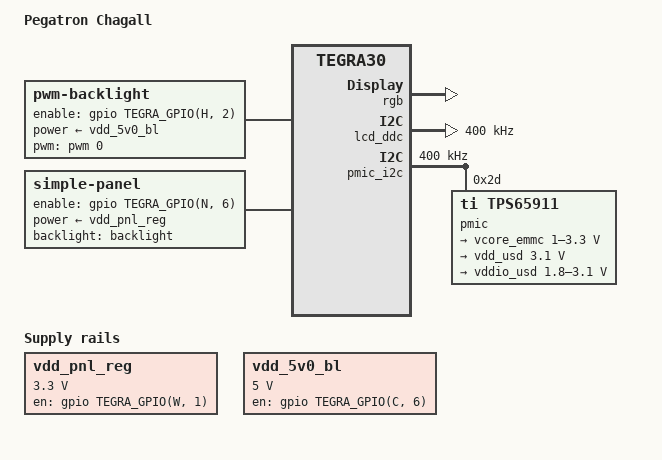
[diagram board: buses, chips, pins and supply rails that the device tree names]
// SPDX-License-Identifier: GPL-2.0-or-later
/dts-v1/;

#include <dt-bindings/input/gpio-keys.h>
#include <dt-bindings/input/linux-event-codes.h>

#include "tegra30-asus-transformer.dtsi"

/ {
	model = "Pegatron Chagall";
	compatible = "pegatron,chagall", "nvidia,tegra30";

	host1x@50000000 {
		dc@54200000 {
			rgb {
				status = "okay";

				nvidia,panel = <&panel>;
			};
		};
	};

	lcd_ddc: i2c@7000c000 {
		status = "okay";
		clock-frequency = <400000>;
	};

	pmic_i2c: i2c@7000d000 {
		status = "okay";
		clock-frequency = <400000>;

		/* Texas Instruments TPS659110 PMIC */
		pmic: tps65911@2d {
			compatible = "ti,tps65911";
			reg = <0x2d>;

			interrupts = <GIC_SPI 86 IRQ_TYPE_LEVEL_HIGH>;
			#interrupt-cells = <2>;
			interrupt-controller;

			ti,system-power-controller;

			#gpio-cells = <2>;
			gpio-controller;

			regulators {
				/* eMMC VDD */
				vcore_emmc: ldo1 {
					regulator-name = "vdd_emmc_core";
					regulator-min-microvolt = <1000000>;
					regulator-max-microvolt = <3300000>;
					regulator-always-on;
				};

				/* uSD slot VDD */
				vdd_usd: ldo2 {
					regulator-name = "vdd_usd";
					regulator-min-microvolt = <3100000>;
					regulator-max-microvolt = <3100000>;
				};

				/* uSD slot VDDIO */
				vddio_usd: ldo3 {
					regulator-name = "vddio_usd";
					regulator-min-microvolt = <1800000>;
					regulator-max-microvolt = <3100000>;
				};
			};
		};
	};

	backlight: backlight {
		compatible = "pwm-backlight";

		enable-gpios = <&gpio TEGRA_GPIO(H, 2) GPIO_ACTIVE_HIGH>;
		power-supply = <&vdd_5v0_bl>;
		pwms = <&pwm 0 4000000>;

		brightness-levels = <0 4 8 16 32 64 128 255>;
		default-brightness-level = <6>;
	};

	gpio-keyboard {
		compatible = "gpio-kbd";

		key-power {
			label = "Power";
			gpios = <&gpio TEGRA_GPIO(V, 0) GPIO_ACTIVE_LOW>;
			linux,code = <KEY_ENTER>;
		};

		key-volume-up {
			label = "Volume Up";
			gpios = <&gpio TEGRA_GPIO(Q, 0) GPIO_ACTIVE_LOW>;
			linux,code = <KEY_UP>;
		};

		key-volume-down {
			label = "Volume Down";
			gpios = <&gpio TEGRA_GPIO(Q, 1) GPIO_ACTIVE_LOW>;
			linux,code = <KEY_DOWN>;
		};
	};

	panel: panel {
		compatible = "simple-panel";

		power-supply = <&vdd_pnl_reg>;
		enable-gpios = <&gpio TEGRA_GPIO(N, 6) GPIO_ACTIVE_HIGH>;

		backlight = <&backlight>;

		display-timings {
			timing@0 {
				/* 1280x800@60Hz */
				clock-frequency = <68000000>;

				hactive = <1280>;
				hfront-porch = <48>;
				hback-porch = <18>;
				hsync-len = <30>;

				vactive = <800>;
				vfront-porch = <3>;
				vback-porch = <12>;
				vsync-len = <5>;
			};
		};
	};

	vdd_pnl_reg: regulator-pnl {
		compatible = "regulator-fixed";
		regulator-name = "vdd_panel";
		regulator-min-microvolt = <3300000>;
		regulator-max-microvolt = <3300000>;
		gpio = <&gpio TEGRA_GPIO(W, 1) GPIO_ACTIVE_HIGH>;
		enable-active-high;
	};

	vdd_5v0_bl: regulator-bl {
		compatible = "regulator-fixed";
		regulator-name = "vdd_5v0_bl";
		regulator-min-microvolt = <5000000>;
		regulator-max-microvolt = <5000000>;
		regulator-boot-on;
		gpio = <&gpio TEGRA_GPIO(C, 6) GPIO_ACTIVE_HIGH>;
		enable-active-high;
	};
};
